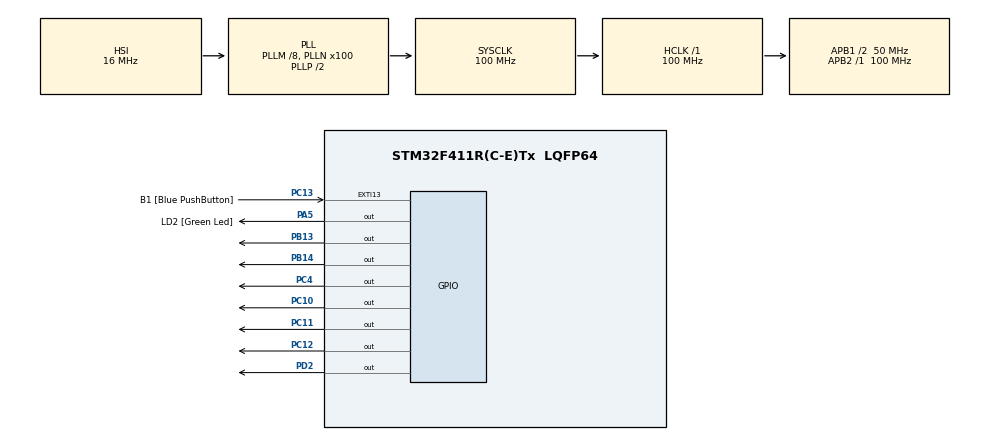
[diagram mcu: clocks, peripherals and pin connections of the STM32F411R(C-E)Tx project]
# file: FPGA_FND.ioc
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Mcu.Family=STM32F4
Mcu.Name=STM32F411R(C-E)Tx
Mcu.Package=LQFP64
NVIC.PriorityGroup=NVIC_PRIORITYGROUP_0
NVIC.TIM1_UP_TIM10_IRQn=true\:0\:0\:false\:false\:true\:true\:true\:true
PA13.GPIO_Label=TMS
PA13.Mode=Serial_Wire
PA13.Signal=SYS_JTMS-SWDIO
PA14.GPIO_Label=TCK
PA14.Mode=Serial_Wire
PA14.Signal=SYS_JTCK-SWCLK
PA2.Signal=USART2_TX
PA3.Signal=USART2_RX
PA5.GPIO_Label=LD2 [Green Led]
PA5.Signal=GPIO_Output
PB13.Signal=GPIO_Output
PB14.Signal=GPIO_Output
PB3.GPIO_Label=SWO
PB3.Signal=SYS_JTDO-SWO
PC10.Signal=GPIO_Output
PC11.Signal=GPIO_Output
PC12.Signal=GPIO_Output
PC13-ANTI_TAMP.GPIO_Label=B1 [Blue PushButton]
PC13-ANTI_TAMP.GPIO_ModeDefaultEXTI=GPIO_MODE_IT_FALLING
PC13-ANTI_TAMP.Signal=GPXTI13
PC14-OSC32_IN.Signal=RCC_OSC32_IN
PC15-OSC32_OUT.Signal=RCC_OSC32_OUT
PC4.Signal=GPIO_Output
PD2.Signal=GPIO_Output
PH0\ -\ OSC_IN.Mode=HSE-External-Oscillator
PH0\ -\ OSC_IN.Signal=RCC_OSC_IN
PH1\ -\ OSC_OUT.Mode=HSE-External-Oscillator
PH1\ -\ OSC_OUT.Signal=RCC_OSC_OUT
ProjectManager.HeapSize=0x200
ProjectManager.StackSize=0x400
ProjectManager.TargetToolchain=STM32CubeIDE
RCC.48MHZClocksFreq_Value=50000000
RCC.AHBFreq_Value=100000000
RCC.APB1CLKDivider=RCC_HCLK_DIV2
RCC.APB1Freq_Value=50000000
RCC.APB1TimFreq_Value=100000000
RCC.APB2Freq_Value=100000000
RCC.APB2TimFreq_Value=100000000
RCC.CortexFreq_Value=100000000
RCC.FLatency-AdvancedSettings=FLASH_LATENCY_3
RCC.HCLKFreq_Value=100000000
RCC.HSE_VALUE=8000000
RCC.HSI_VALUE=16000000
RCC.LSE_VALUE=32768
RCC.PLLM=8
RCC.PLLN=100
RCC.SYSCLKFreq_VALUE=100000000
RCC.SYSCLKSource=RCC_SYSCLKSOURCE_PLLCLK
RCC.VCOOutputFreq_Value=200000000
TIM1.Period=100-1
TIM1.Prescaler=1000-1
VP_TIM1_VS_ClockSourceINT.Mode=Internal
board=NUCLEO-F411RE

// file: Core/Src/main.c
/* USER CODE BEGIN Header */
/**
  ******************************************************************************
  * @file           : main.c
  * @brief          : Main program body
  ******************************************************************************
  * @attention
  *
  * Copyright (c) 2022 STMicroelectronics.
  * All rights reserved.
  *
  * This software is licensed under terms that can be found in the LICENSE file
  * in the root directory of this software component.
  * If no LICENSE file comes with this software, it is provided AS-IS.
  *
  ******************************************************************************
  */
/* USER CODE END Header */
#include "main.h"

/* USER CODE BEGIN Includes */
#include "Driver/Button/Button.h"
#include "Driver/LED/Led.h"
#include "Driver/FPGA_FND/FPGA_FND.h"
/* USER CODE END Includes */

TIM_HandleTypeDef htim1;

void SystemClock_Config(void);
static void MX_GPIO_Init(void);
static void MX_TIM1_Init(void);

/* USER CODE BEGIN 0 */
void HAL_TIM_PeriodElapsedCallback(TIM_HandleTypeDef *htim)
{
	if(htim->Instance == TIM1)
	{
		FPGA_FND_DispFNDNumber();
	}
}
/* USER CODE END 0 */

int main(void)
{

  /* MCU Configuration--------------------------------------------------------*/

  /* Reset of all peripherals, Initializes the Flash interface and the Systick. */
  HAL_Init();

  /* USER CODE BEGIN Init */
  Button ledButton;
  Button_GetInstance(&ledButton, GPIOC, GPIO_PIN_13);

  Led testLed;
  Led_GetInstance(&testLed, GPIOA, GPIO_PIN_5);
  /* USER CODE END Init */

  /* Configure the system clock */
  SystemClock_Config();

  /* Initialize all configured peripherals */
  MX_GPIO_Init();
  MX_TIM1_Init();

  /* Infinite loop */
  /* USER CODE BEGIN WHILE */
  HAL_TIM_Base_Start_IT(&htim1);
  int number = 0;

  while (1)
  {
	  if(Button_GetState(&ledButton) == ACTIVE_RELEASE)
	  {
		  Led_Toggle(&testLed);
	  }
	  FPGA_FND_SetNumber(number);
	  number++;
	  HAL_Delay(100);
    /* USER CODE END WHILE */

  }
}

void SystemClock_Config(void)
{
  RCC_OscInitTypeDef RCC_OscInitStruct = {0};
  RCC_ClkInitTypeDef RCC_ClkInitStruct = {0};

  /** Configure the main internal regulator output voltage
  */
  __HAL_RCC_PWR_CLK_ENABLE();
  __HAL_PWR_VOLTAGESCALING_CONFIG(PWR_REGULATOR_VOLTAGE_SCALE1);

  /** Initializes the RCC Oscillators according to the specified parameters
  * in the RCC_OscInitTypeDef structure.
  */
  RCC_OscInitStruct.OscillatorType = RCC_OSCILLATORTYPE_HSI;
  RCC_OscInitStruct.HSIState = RCC_HSI_ON;
  RCC_OscInitStruct.HSICalibrationValue = RCC_HSICALIBRATION_DEFAULT;
  RCC_OscInitStruct.PLL.PLLState = RCC_PLL_ON;
  RCC_OscInitStruct.PLL.PLLSource = RCC_PLLSOURCE_HSI;
  RCC_OscInitStruct.PLL.PLLM = 8;
  RCC_OscInitStruct.PLL.PLLN = 100;
  RCC_OscInitStruct.PLL.PLLP = RCC_PLLP_DIV2;
  RCC_OscInitStruct.PLL.PLLQ = 4;
  if (HAL_RCC_OscConfig(&RCC_OscInitStruct) != HAL_OK)
  {
    Error_Handler();
  }

  /** Initializes the CPU, AHB and APB buses clocks
  */
  RCC_ClkInitStruct.ClockType = RCC_CLOCKTYPE_HCLK|RCC_CLOCKTYPE_SYSCLK
                              |RCC_CLOCKTYPE_PCLK1|RCC_CLOCKTYPE_PCLK2;
  RCC_ClkInitStruct.SYSCLKSource = RCC_SYSCLKSOURCE_PLLCLK;
  RCC_ClkInitStruct.AHBCLKDivider = RCC_SYSCLK_DIV1;
  RCC_ClkInitStruct.APB1CLKDivider = RCC_HCLK_DIV2;
  RCC_ClkInitStruct.APB2CLKDivider = RCC_HCLK_DIV1;

  if (HAL_RCC_ClockConfig(&RCC_ClkInitStruct, FLASH_LATENCY_3) != HAL_OK)
  {
    Error_Handler();
  }
}

static void MX_TIM1_Init(void)
{

  TIM_ClockConfigTypeDef sClockSourceConfig = {0};
  TIM_MasterConfigTypeDef sMasterConfig = {0};

  htim1.Instance = TIM1;
  htim1.Init.Prescaler = 1000-1;
  htim1.Init.CounterMode = TIM_COUNTERMODE_UP;
  htim1.Init.Period = 100-1;
  htim1.Init.ClockDivision = TIM_CLOCKDIVISION_DIV1;
  htim1.Init.RepetitionCounter = 0;
  htim1.Init.AutoReloadPreload = TIM_AUTORELOAD_PRELOAD_DISABLE;
  if (HAL_TIM_Base_Init(&htim1) != HAL_OK)
  {
    Error_Handler();
  }
  sClockSourceConfig.ClockSource = TIM_CLOCKSOURCE_INTERNAL;
  if (HAL_TIM_ConfigClockSource(&htim1, &sClockSourceConfig) != HAL_OK)
  {
    Error_Handler();
  }
  sMasterConfig.MasterOutputTrigger = TIM_TRGO_RESET;
  sMasterConfig.MasterSlaveMode = TIM_MASTERSLAVEMODE_DISABLE;
  if (HAL_TIMEx_MasterConfigSynchronization(&htim1, &sMasterConfig) != HAL_OK)
  {
    Error_Handler();
  }

}

static void MX_GPIO_Init(void)
{
  GPIO_InitTypeDef GPIO_InitStruct = {0};

  /* GPIO Ports Clock Enable */
  __HAL_RCC_GPIOC_CLK_ENABLE();
  __HAL_RCC_GPIOH_CLK_ENABLE();
  __HAL_RCC_GPIOA_CLK_ENABLE();
  __HAL_RCC_GPIOB_CLK_ENABLE();
  __HAL_RCC_GPIOD_CLK_ENABLE();

  /*Configure GPIO pin Output Level */
  HAL_GPIO_WritePin(LD2_GPIO_Port, LD2_Pin, GPIO_PIN_RESET);

  /*Configure GPIO pin Output Level */
  HAL_GPIO_WritePin(GPIOC, GPIO_PIN_4|GPIO_PIN_10|GPIO_PIN_11|GPIO_PIN_12, GPIO_PIN_RESET);

  /*Configure GPIO pin Output Level */
  HAL_GPIO_WritePin(GPIOB, GPIO_PIN_13|GPIO_PIN_14, GPIO_PIN_RESET);

  /*Configure GPIO pin Output Level */
  HAL_GPIO_WritePin(GPIOD, GPIO_PIN_2, GPIO_PIN_RESET);

  /*Configure GPIO pin : B1_Pin */
  GPIO_InitStruct.Pin = B1_Pin;
  GPIO_InitStruct.Mode = GPIO_MODE_IT_FALLING;
  GPIO_InitStruct.Pull = GPIO_NOPULL;
  HAL_GPIO_Init(B1_GPIO_Port, &GPIO_InitStruct);

  /*Configure GPIO pins : PA2 PA3 */
  GPIO_InitStruct.Pin = GPIO_PIN_2|GPIO_PIN_3;
  GPIO_InitStruct.Mode = GPIO_MODE_AF_PP;
  GPIO_InitStruct.Pull = GPIO_NOPULL;
  GPIO_InitStruct.Speed = GPIO_SPEED_FREQ_VERY_HIGH;
  GPIO_InitStruct.Alternate = GPIO_AF7_USART2;
  HAL_GPIO_Init(GPIOA, &GPIO_InitStruct);

  /*Configure GPIO pin : LD2_Pin */
  GPIO_InitStruct.Pin = LD2_Pin;
  GPIO_InitStruct.Mode = GPIO_MODE_OUTPUT_PP;
  GPIO_InitStruct.Pull = GPIO_NOPULL;
  GPIO_InitStruct.Speed = GPIO_SPEED_FREQ_LOW;
  HAL_GPIO_Init(LD2_GPIO_Port, &GPIO_InitStruct);

  /*Configure GPIO pins : PC4 PC10 PC11 PC12 */
  GPIO_InitStruct.Pin = GPIO_PIN_4|GPIO_PIN_10|GPIO_PIN_11|GPIO_PIN_12;
  GPIO_InitStruct.Mode = GPIO_MODE_OUTPUT_PP;
  GPIO_InitStruct.Pull = GPIO_NOPULL;
  GPIO_InitStruct.Speed = GPIO_SPEED_FREQ_LOW;
  HAL_GPIO_Init(GPIOC, &GPIO_InitStruct);

  /*Configure GPIO pins : PB13 PB14 */
  GPIO_InitStruct.Pin = GPIO_PIN_13|GPIO_PIN_14;
  GPIO_InitStruct.Mode = GPIO_MODE_OUTPUT_PP;
  GPIO_InitStruct.Pull = GPIO_NOPULL;
  GPIO_InitStruct.Speed = GPIO_SPEED_FREQ_LOW;
  HAL_GPIO_Init(GPIOB, &GPIO_InitStruct);

  /*Configure GPIO pin : PD2 */
  GPIO_InitStruct.Pin = GPIO_PIN_2;
  GPIO_InitStruct.Mode = GPIO_MODE_OUTPUT_PP;
  GPIO_InitStruct.Pull = GPIO_NOPULL;
  GPIO_InitStruct.Speed = GPIO_SPEED_FREQ_LOW;
  HAL_GPIO_Init(GPIOD, &GPIO_InitStruct);

}

void Error_Handler(void)
{
  __disable_irq();
  while (1)
  {
  }
}
